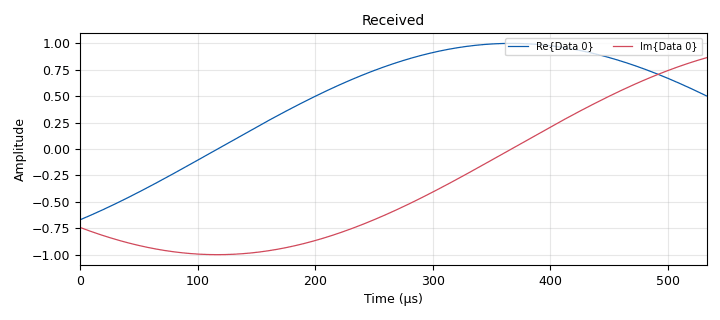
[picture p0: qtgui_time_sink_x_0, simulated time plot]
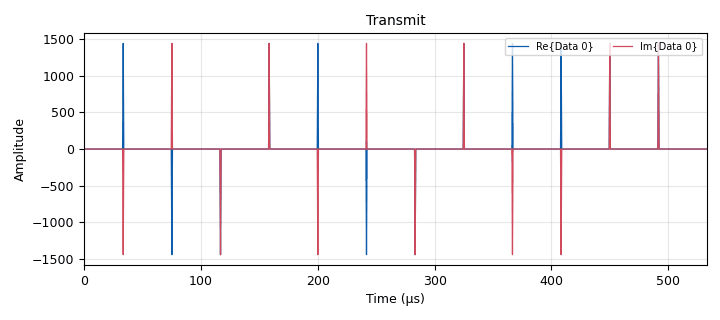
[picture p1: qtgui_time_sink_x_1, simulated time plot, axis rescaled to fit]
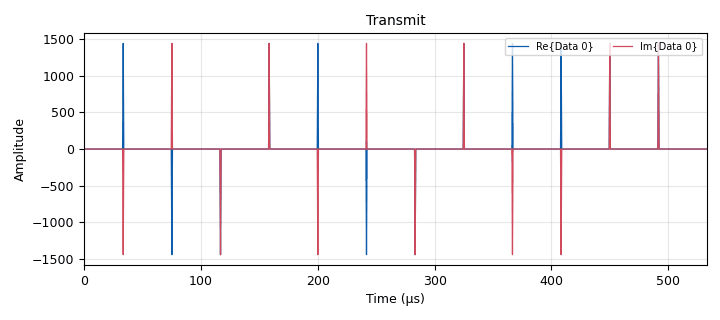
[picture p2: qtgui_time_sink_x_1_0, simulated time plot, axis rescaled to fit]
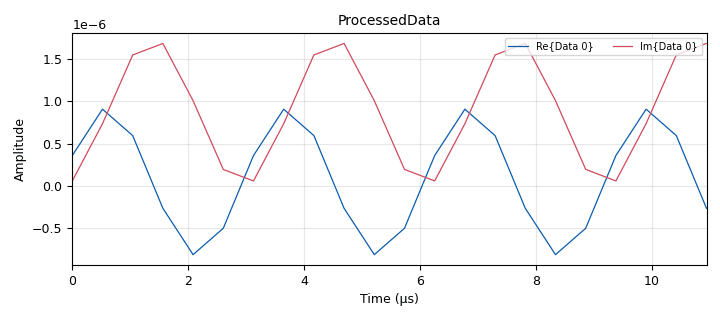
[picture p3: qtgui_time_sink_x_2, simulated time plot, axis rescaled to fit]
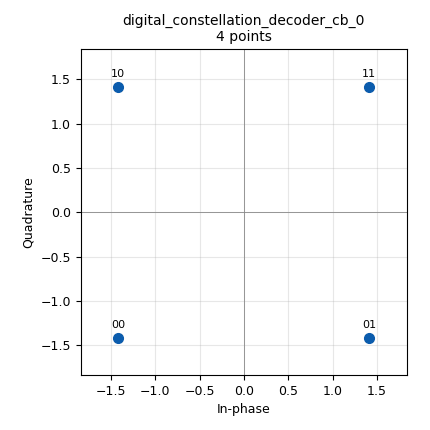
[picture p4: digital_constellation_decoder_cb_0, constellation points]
options:
  parameters:
    author: hkphi
    generate_options: qt_gui
    id: PROJ_USRT
    output_language: python
    title: Not titled yet
  states: {}

blocks:
- name: samp_rate
  id: variable
  parameters:
    value: '1920000'
  states: {}
- name: analog_agc_xx_0
  id: analog_agc_xx
  parameters:
    gain: '10'
    max_gain: '65536'
    rate: '1e-4'
    reference: '1.0'
    type: complex
  states: {}
- name: analog_sig_source_x_0
  id: analog_sig_source_x
  parameters:
    amp: '1'
    freq: '1000'
    offset: '0'
    phase: '0'
    samp_rate: samp_rate
    type: complex
    waveform: analog.GR_COS_WAVE
  states: {}
- name: analog_sig_source_x_0_0
  id: analog_sig_source_x
  parameters:
    amp: '1'
    freq: '1000'
    offset: '0'
    phase: '0'
    samp_rate: samp_rate
    type: complex
    waveform: analog.GR_COS_WAVE
  states: {}
- name: analog_sig_source_x_1
  id: analog_sig_source_x
  parameters:
    amp: '100'
    freq: '1000'
    offset: '0'
    phase: '0'
    samp_rate: samp_rate
    type: float
    waveform: analog.GR_COS_WAVE
  states: {}
- name: analog_sig_source_x_2
  id: analog_sig_source_x
  parameters:
    amp: '100'
    freq: '1000'
    offset: '0'
    phase: '0'
    samp_rate: samp_rate
    type: byte
    waveform: analog.GR_COS_WAVE
  states: {}
- name: audio_sink_0
  id: audio_sink
  parameters:
    samp_rate: samp_rate
  states: {}
- name: blocks_complex_to_float_0
  id: blocks_complex_to_float
  parameters: {}
  states: {}
- name: blocks_file_sink_0
  id: blocks_file_sink
  parameters:
    file: K.dat
    type: complex
  states: {}
- name: blocks_multiply_xx_0
  id: blocks_multiply_xx
  parameters:
    type: complex
  states: {}
- name: blocks_multiply_xx_1
  id: blocks_multiply_xx
  parameters:
    type: float
  states: {}
- name: blocks_null_sink_0
  id: blocks_null_sink
  parameters:
    type: byte
  states: {}
- name: blocks_peak_detector_xb_0
  id: blocks_peak_detector_xb
  parameters:
    alpha: '0.001'
    look_ahead: '10'
    threshold_factor_fall: '20'
    threshold_factor_rise: '10'
    type: float
  states: {}
- name: blocks_threshold_ff_0
  id: blocks_threshold_ff
  parameters:
    high: '20'
    init: '0'
    low: '-20'
  states: {}
- name: blocks_uchar_to_float_0
  id: blocks_uchar_to_float
  parameters: {}
  states: {}
- name: blocks_uchar_to_float_1
  id: blocks_uchar_to_float
  parameters: {}
  states: {}
- name: digital_binary_slicer_fb_0
  id: digital_binary_slicer_fb
  parameters: {}
  states: {}
- name: digital_constellation_decoder_cb_0
  id: digital_constellation_decoder_cb
  parameters:
    constellation: digital.constellation_qpsk().base()
  states: {}
- name: digital_constellation_modulator_0
  id: digital_constellation_modulator
  parameters:
    constellation: digital.constellation_qpsk().base()
    differential: 'False'
    excess_bw: '350'
    samples_per_symbol: '10'
  states: {}
- name: digital_costas_loop_cc_0
  id: digital_costas_loop_cc
  parameters:
    order: '2'
    w: '0.05'
  states: {}
- name: digital_symbol_sync_xx_0
  id: digital_symbol_sync_xx
  parameters:
    damping: '1.0'
    loop_bw: '0.045'
    max_dev: '1.5'
    osps: '1'
    resamp_type: digital.IR_MMSE_8TAP
    sps: '10'
    ted_gain: '1.0'
    ted_type: digital.TED_MUELLER_AND_MULLER
    type: cc
  states: {}
- name: fir_filter_xxx_0
  id: fir_filter_xxx
  parameters:
    decim: '16'
    taps: '64'
    type: ccc
  states: {}
- name: interp_fir_filter_xxx_0
  id: interp_fir_filter_xxx
  parameters:
    interp: '8'
    taps: '32'
    type: ccc
  states: {}
- name: note_0
  id: note
  parameters:
    note: TRANSMITTER
  states: {}
- name: note_0_0
  id: note
  parameters:
    note: RECIEVER
  states: {}
- name: qtgui_time_sink_x_0
  id: qtgui_time_sink_x
  parameters:
    autoscale: 'True'
    name: '"Received"'
    size: '1024'
    srate: samp_rate
    type: complex
  states: {}
- name: qtgui_time_sink_x_1
  id: qtgui_time_sink_x
  parameters:
    name: '"Transmit"'
    size: '1024'
    srate: samp_rate
    type: complex
  states: {}
- name: qtgui_time_sink_x_1_0
  id: qtgui_time_sink_x
  parameters:
    name: '"Transmit"'
    size: '1024'
    srate: samp_rate
    type: complex
  states: {}
- name: qtgui_time_sink_x_2
  id: qtgui_time_sink_x
  parameters:
    name: '"ProcessedData"'
    size: '1024'
    srate: samp_rate
    type: complex
  states: {}
- name: root_raised_cosine_filter_0
  id: root_raised_cosine_filter
  parameters:
    alpha: '0.35'
    decim: '1'
    gain: '1'
    ntaps: 11*samp_rate
    samp_rate: samp_rate
    sym_rate: '1.0'
    type: fir_filter_ccf
  states: {}
- name: uhd_usrp_sink_2
  id: uhd_usrp_sink
  parameters:
    ant0: '"TX/RX"'
    bw0: '1000000'
    center_freq0: 2.4e9
    gain0: '50'
    samp_rate: samp_rate
    sync: sync
    type: fc32
  states: {state: disabled}
- name: uhd_usrp_source_1
  id: uhd_usrp_source
  parameters:
    ant0: '"RX2"'
    bw0: '1000000'
    center_freq0: 2.4e9
    gain0: '50'
    samp_rate: samp_rate
    sync: sync
    type: fc32
  states: {state: disabled}

connections:
- [analog_agc_xx_0, '0', blocks_complex_to_float_0, '0']
- [analog_agc_xx_0, '0', blocks_file_sink_0, '0']
- [analog_agc_xx_0, '0', qtgui_time_sink_x_0, '0']
- [analog_sig_source_x_0, '0', blocks_multiply_xx_0, '1']
- [analog_sig_source_x_0_0, '0', analog_agc_xx_0, '0']
- [analog_sig_source_x_0_0, '0', blocks_multiply_xx_0, '0']
- [analog_sig_source_x_1, '0', blocks_multiply_xx_1, '1']
- [analog_sig_source_x_2, '0', digital_constellation_modulator_0, '0']
- [blocks_complex_to_float_0, '0', blocks_peak_detector_xb_0, '0']
- [blocks_multiply_xx_0, '0', fir_filter_xxx_0, '0']
- [blocks_multiply_xx_1, '0', audio_sink_0, '0']
- [blocks_peak_detector_xb_0, '0', blocks_uchar_to_float_0, '0']
- [blocks_threshold_ff_0, '0', digital_binary_slicer_fb_0, '0']
- [blocks_uchar_to_float_0, '0', blocks_threshold_ff_0, '0']
- [blocks_uchar_to_float_1, '0', blocks_multiply_xx_1, '0']
- [digital_binary_slicer_fb_0, '0', blocks_uchar_to_float_1, '0']
- [digital_constellation_decoder_cb_0, '0', blocks_null_sink_0, '0']
- [digital_constellation_modulator_0, '0', interp_fir_filter_xxx_0, '0']
- [digital_costas_loop_cc_0, '0', digital_constellation_decoder_cb_0, '0']
- [digital_costas_loop_cc_0, '0', qtgui_time_sink_x_2, '0']
- [digital_symbol_sync_xx_0, '0', digital_costas_loop_cc_0, '0']
- [fir_filter_xxx_0, '0', root_raised_cosine_filter_0, '0']
- [interp_fir_filter_xxx_0, '0', qtgui_time_sink_x_1, '0']
- [interp_fir_filter_xxx_0, '0', qtgui_time_sink_x_1_0, '0']
- [interp_fir_filter_xxx_0, '0', uhd_usrp_sink_2, '0']
- [root_raised_cosine_filter_0, '0', digital_symbol_sync_xx_0, '0']
- [uhd_usrp_source_1, '0', analog_agc_xx_0, '0']
- [uhd_usrp_source_1, '0', blocks_multiply_xx_0, '0']

metadata:
  file_format: 1
  grc_version: 3.10.10.0
